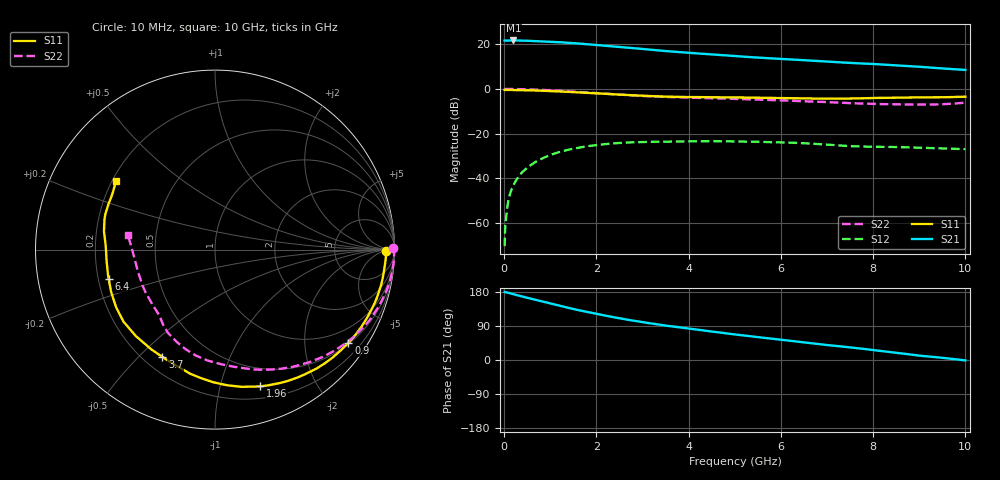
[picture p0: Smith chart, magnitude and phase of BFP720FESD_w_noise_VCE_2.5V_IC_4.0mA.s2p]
! Infineon Technologies  Discrete & RF Semiconductors
! BFP720FESD
! VCE =  2.5 V,  IC =  4.0 mA
! Common Emitter S-Parameters:  Jan 2016
# GHz  S  MA  R  50
!  f  S11  S21  S12  S22
! GHz  MAG  ANG  MAG  ANG  MAG  ANG  MAG  ANG
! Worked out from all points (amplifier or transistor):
!   233 points, 10 MHz to 10 GHz, reference 50 ohm
!   highest |S21| = 21.7 dB at 200 MHz (marker M1)
!   |S21| within 3 dB of that: start of sweep to 2.564 GHz
!   unconditionally stable (mu >= 1): 7.381 GHz to end of sweep
!   at 200 MHz: K = 0.01, MSG = 32.5 dB, |S12| = -43.2 dB
!   at 1.74 GHz: K = 0.16, MSG = 23.0 dB, |S12| = -25.9 dB
!   at 10 GHz: K = 1.54, MAG = 13.4 dB, |S12| = -27.0 dB
!   lowest NFmin = 0.48 dB at 450 MHz
!   S11 on the Smith chart (normalised r, x): 10 MHz: 40, -7; 900 MHz: 0.53, -3.09; 1.96 GHz: 0.31, -1.33; 3.7 GHz: 0.27, -0.59; 6.4 GHz: 0.24, -0.13; 10 GHz: 0.22, +0.30
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0.01  0.9521 -0.5  12.13 179.6  0.0003 -171.6  0.9922 0.5
0.02  0.9531 -0.8  12.11 179.4  0.0007 95.7  0.9981 -0.5
0.03  0.9532 -1.2  12.11 179.0  0.001 91.3  0.9982 -0.8
0.075  0.9523 -2.9  12.14 177.6  0.0025 86.5  0.9985 -2.0
0.2  0.9486 -7.9  12.21 173.8  0.0069 84.8  0.9966 -5.6
0.5  0.9359 -19.7  12.03 164.1  0.0172 77.1  0.9815 -13.9
0.9  0.9072 -35.0  11.56 151.9  0.03 66.9  0.9465 -24.6
1.3  0.8706 -49.8  10.98 140.2  0.0412 57.0  0.899 -35.1
1.68  0.8298 -63.0  10.3 129.7  0.0497 48.0  0.848 -44.6
1.96  0.8014 -71.8  9.759 122.7  0.0546 42.3  0.812 -51.2
2.4  0.7589 -84.9  8.95 112.3  0.0606 34.0  0.7596 -60.9
2.78  0.7221 -95.6  8.248 104.0  0.0638 27.3  0.7177 -68.9
3  0.7052 -101.3  7.866 99.6  0.065 23.8  0.6972 -73.0
3.4  0.6776 -110.0  7.214 92.7  0.0659 19.0  0.6688 -78.9
3.7  0.6654 -116.2  6.811 87.8  0.0665 15.8  0.6529 -82.9
4.5  0.6532 -132.5  5.952 75.1  0.0678 8.0  0.6201 -93.6
5.1  0.6456 -143.4  5.373 66.1  0.0667 2.5  0.5949 -101.6
6.4  0.6144 -164.6  4.471 47.9  0.0615 -7.3  0.5371 -118.0
6.8  0.6082 -171.1  4.226 42.4  0.0584 -9.4  0.5173 -122.6
8.4  0.6386 164.6  3.437 20.5  0.0501 -7.7  0.4544 -148.4
9  0.6454 156.8  3.142 11.5  0.0484 -7.9  0.4465 -164.1
10  0.6714 145.2  2.668 -1.1  0.0448 -5.5  0.4923 170.4
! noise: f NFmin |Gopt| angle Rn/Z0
0.45  0.48  0.63  3  0.17
2.4  0.67  0.42  32  0.16
5.5  0.83  0.43  107  0.11
10  1.44  0.35  -164  0.09
